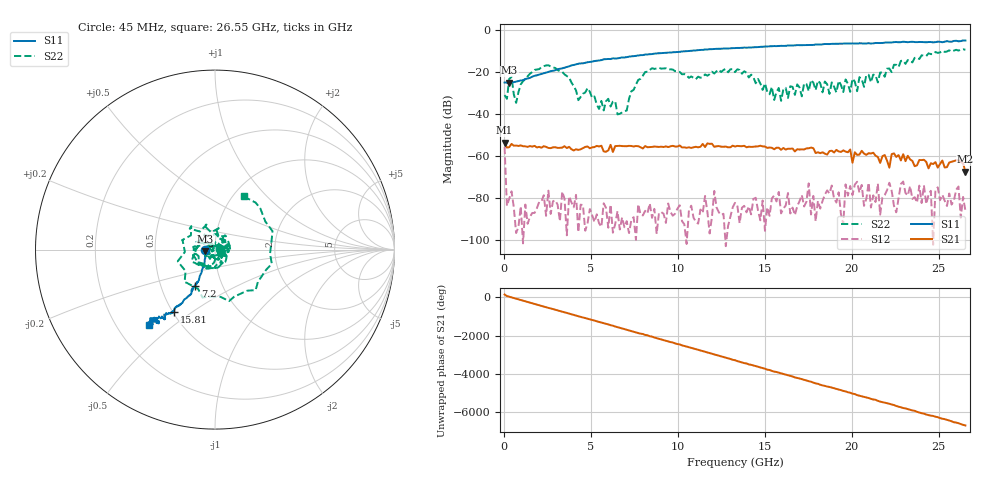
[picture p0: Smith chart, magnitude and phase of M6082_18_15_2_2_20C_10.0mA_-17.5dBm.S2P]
!  2-Port S-parameters saved by WinCal
! VAR MeasName=S-Parameters (CALIBRATED_DATA) read from VNA (C)
! VAR MeasDate=9/29/2015 3:20:33 PM
! VAR NAME=M6082_18_15_2_2_20C_10.0mA_-17.5dBm
! VAR FILENAME=M6082_18_15_2_2_20C_10.0mA_-17.5dBm.S2P
! VAR DATE=9/29/2015 3:20:33 PM
! VAR PHYS_PORTS=2,1
! VAR ObjTypeName=DATASET
! VAR IndexType=Frequency
# Hz S RI R 50
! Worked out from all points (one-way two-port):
!   201 points, 45 MHz to 26.55 GHz, reference 50 ohm
!   highest |S21| = -53.61 dB at 45 MHz (marker M1); lowest = -67.4 dB at 26.55 GHz (marker M2)
!   lowest |S11| = -25.1 dB at 310 MHz (marker M3), VSWR 1.12, Z = 44.8 - j0.748 ohm
!   |S11| at or under -10 dB: start of sweep to 10.69 GHz
!   |S22| runs from -40.2 to -9.2 dB; largest |S21 - S12| = 0.0037
!   S11 on the Smith chart (normalised r, x): 45 MHz: 0.89, -0.00; 7.2 GHz: 0.74, -0.32; 15.81 GHz: 0.51, -0.43; 26.55 GHz: 0.34, -0.41
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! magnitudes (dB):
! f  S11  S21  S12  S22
! 45 MHz  -25.0  -53.6  -55.7  -31.0
! 177.5 MHz  -25.1  -55.9  -83.6  -32.7
! 310 MHz  -25.1  -55.8  -80.3  -23.3
! 707.5 MHz  -24.6  -55.0  -96.6  -34.7
! 1.105 GHz  -23.9  -55.3  -101.5  -24.4
! 2.43 GHz  -20.3  -55.6  -88.4  -16.9
! 4.55 GHz  -15.9  -56.2  -83.2  -30.3
! 6.537 GHz  -13.5  -55.2  -86.1  -40.2
! 7.2 GHz  -12.7  -55.1  -96.6  -32.8
! 8.922 GHz  -11.1  -55.6  -87.0  -18.0
! 13.29 GHz  -8.7  -55.4  -82.2  -20.1
! 15.55 GHz  -7.7  -56.7  -78.7  -33.3
! 15.81 GHz  -7.7  -56.0  -77.0  -27.6
! 15.95 GHz  -7.6  -57.0  -87.2  -33.7
! 17.8 GHz  -7.1  -56.2  -78.9  -25.1
! 20.32 GHz  -6.5  -59.4  -72.2  -29.2
! 20.71 GHz  -6.5  -58.8  -83.6  -27.1
! 22.17 GHz  -6.0  -65.5  -72.7  -18.4
! 22.44 GHz  -5.8  -58.7  -83.6  -16.6
! 22.97 GHz  -5.6  -59.1  -72.1  -14.6
! 23.5 GHz  -5.7  -62.3  -80.4  -15.5
! 26.55 GHz  -5.1  -67.4  -85.9  -9.5
